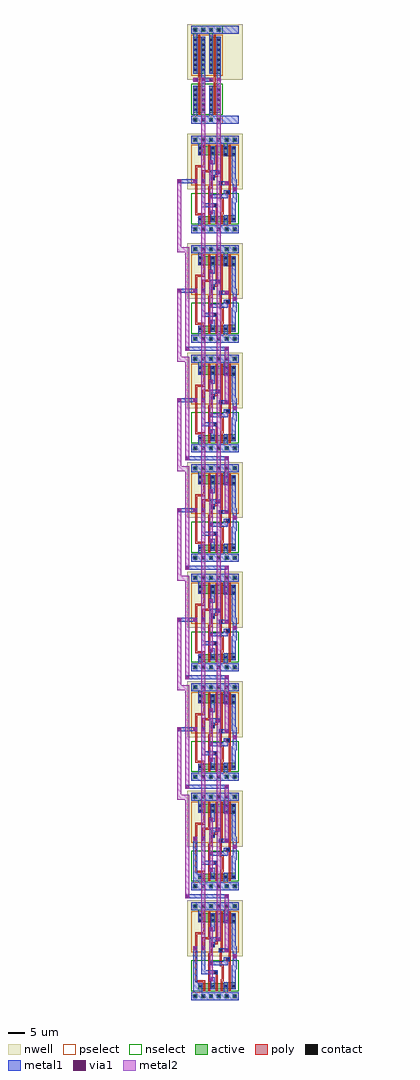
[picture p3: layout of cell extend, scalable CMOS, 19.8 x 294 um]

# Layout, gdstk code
import gdstk
lib = gdstk.Library(unit=1e-6, precision=1e-09)
def R(c, l, rs):  # rectangles x0, y0, x1, y1
    for r in rs: c.add(gdstk.rectangle(r[:2], r[2:], *l))
def A(c, l, x, y, w, h, nx, ny, dx, dy):  # array of equal rectangles
    R(c, l, [(x+i*dx, y+j*dy, x+i*dx+w, y+j*dy+h) for i in range(nx) for j in range(ny)])
def P(c, l, *ps):  # polygons
    for p in ps: c.add(gdstk.Polygon(p, *l))
contact = (25, 0)
nwell = (42, 0)
active = (43, 0)
pselect = (44, 0)
nselect = (45, 0)
poly = (46, 0)
metal1 = (49, 0)
via1 = (50, 0)
metal2 = (51, 0)

invbuf_4x = lib.new_cell('invbuf_4x')
A(invbuf_4x, contact, 0.9, -0.3, 0.6, 0.6, 4, 2, 2.4, 3)
A(invbuf_4x, contact, 0.9, 4.2, 0.6, 0.6, 4, 4, 2.4, 1.5)
A(invbuf_4x, contact, 0.9, 14.7, 0.6, 0.6, 4, 7, 2.4, 1.5)
A(invbuf_4x, contact, 0.9, 26.7, 0.6, 0.6, 4, 1, 2.4, 0)
R(invbuf_4x, contact, [(0.9,11.7,1.5,12.3), (5.7,11.7,6.3,12.3)])
R(invbuf_4x, nwell, [(-1.2,12,6,28.8), (3.6,12,10.8,28.8)])
A(invbuf_4x, active, 0.6, -0.6, 1.2, 1.2, 4, 2, 2.4, 27)
R(invbuf_4x, active, [(0.6,2.1,4.2,10.2), (5.4,2.1,9,10.2), (0.6,13.8,4.2,24.9), (5.4,13.8,9,24.9)])
R(invbuf_4x, pselect, [(0,-1.2,4.8,1.2), (4.8,-1.2,9.6,1.2), (0,13.2,4.8,25.5), (4.8,13.2,9.6,25.5)])
R(invbuf_4x, nselect, [(0,1.5,4.8,10.8), (4.8,1.5,9.6,10.8), (0,25.8,4.8,28.2), (4.8,25.8,9.6,28.2)])
P(invbuf_4x, poly, [(7.5,25.5),(6.9,25.5),(6.9,12.6),(5.4,12.6),(5.4,11.4),(6.9,11.4),(6.9,1.5),(7.5,1.5)],
  [(2.7,25.5),(2.1,25.5),(2.1,12.6),(0.6,12.6),(0.6,11.4),(2.1,11.4),(2.1,1.5),(2.7,1.5)])
R(invbuf_4x, metal1, [(0,-1.2,9.6,1.2), (0,-1.2,4.8,1.2), (4.8,-1.2,9.6,1.2), (3,2.1,4.2,24.9), (7.8,2.1,9,24.9), (0.6,11.4,1.8,12.6), (3,11.4,6.6,12.6), (0,25.8,9.6,28.2), (0,25.8,4.8,28.2), (4.8,25.8,9.6,28.2)])
P(invbuf_4x, metal1, [(9.6,1.2),(6.6,1.2),(6.6,10.2),(5.4,10.2),(5.4,1.2),(4.8,1.2),(4.8,-1.2),(9.6,-1.2)],
  [(9.6,28.2),(4.8,28.2),(4.8,25.8),(5.4,25.8),(5.4,13.8),(6.6,13.8),(6.6,25.8),(9.6,25.8)],
  [(4.8,1.2),(1.8,1.2),(1.8,10.2),(0.6,10.2),(0.6,1.2),(0,1.2),(0,-1.2),(4.8,-1.2)],
  [(4.8,28.2),(0,28.2),(0,25.8),(0.6,25.8),(0.6,13.8),(1.8,13.8),(1.8,25.8),(4.8,25.8)])
R(invbuf_4x, via1, [(0.9,11.7,1.5,12.3), (3.3,11.7,3.9,12.3), (8.1,11.7,8.7,12.3)])
R(invbuf_4x, metal2, [(0.6,11.4,1.8,12.6), (0.6,11.4,1.8,12.6), (0.6,11.4,1.8,12.6), (0.6,11.4,2.1,12.6), (3,11.4,4.2,12.6), (3,11.4,4.2,12.6), (3,11.4,4.2,12.6), (5.4,11.4,6.6,12.6), (5.4,11.4,6.6,12.6), (7.8,11.4,9,12.6), (7.8,11.4,9,12.6), (7.8,11.4,9,12.6)])

mux2_dp_1x = lib.new_cell('mux2_dp_1x')
A(mux2_dp_1x, contact, 0.9, -0.3, 0.6, 0.6, 6, 2, 2.4, 27)
A(mux2_dp_1x, contact, 2.4, 2.7, 0.6, 0.6, 3, 2, 3.9, 21.3)
R(mux2_dp_1x, contact, [(12.6,2.7,13.2,3.3), (7.2,6.9,7.8,7.5), (10.8,10.8,11.4,11.4), (8.7,13.5,9.3,14.1), (0.9,14.1,1.5,14.7), (3.3,14.1,3.9,14.7), (6.3,15,6.9,15.6), (10.2,22.2,10.8,22.8), (12.6,22.2,13.2,22.8), (2.4,22.5,3,23.1), (6.3,22.5,6.9,23.1), (12.6,24,13.2,24.6)])
R(mux2_dp_1x, nwell, [(-1.2,12,15.6,28.8)])
A(mux2_dp_1x, active, 0.6, -0.6, 1.2, 1.2, 6, 2, 2.4, 27)
P(mux2_dp_1x, active, [(13.5,4.2),(9.9,4.2),(9.9,3.9),(2.1,3.9),(2.1,2.1),(13.5,2.1)],
  [(13.5,24.9),(2.1,24.9),(2.1,22.2),(9.9,22.2),(9.9,21.9),(13.5,21.9)])
R(mux2_dp_1x, pselect, [(0,-1.2,14.4,1.2), (0,13.2,14.4,25.5)])
R(mux2_dp_1x, nselect, [(0,1.5,14.4,10.8), (0,25.8,14.4,28.2)])
P(mux2_dp_1x, poly, [(4.2,4.8),(1.8,4.8),(1.8,18.6),(4.2,18.6),(4.2,25.5),(3.6,25.5),(3.6,19.2),(1.2,19.2),(1.2,15),(0.6,15),(0.6,13.8),(1.2,13.8),(1.2,4.2),(3.6,4.2),(3.6,1.5),(4.2,1.5)],
  [(5.7,25.5),(5.1,25.5),(5.1,17.7),(3.3,17.7),(3.3,15),(3,15),(3,13.8),(4.2,13.8),(4.2,15),(3.9,15),(3.9,17.1),(5.7,17.1)],
  [(8.1,25.5),(7.5,25.5),(7.5,16.2),(6,16.2),(6,12.9),(5.1,12.9),(5.1,1.5),(5.7,1.5),(5.7,12.3),(6.6,12.3),(6.6,14.7),(7.2,14.7),(7.2,15.6),(8.1,15.6)],
  [(8.1,7.8),(6.9,7.8),(6.9,6.6),(7.5,6.6),(7.5,1.5),(8.1,1.5)],
  [(9.9,9.6),(9.3,9.6),(9.3,13.2),(9.6,13.2),(9.6,25.5),(9,25.5),(9,14.4),(8.4,14.4),(8.4,13.2),(8.7,13.2),(8.7,9),(9.3,9),(9.3,5.1),(9,5.1),(9,1.5),(9.6,1.5),(9.6,4.5),(9.9,4.5)],
  [(12,25.5),(11.4,25.5),(11.4,11.7),(10.5,11.7),(10.5,10.5),(11.4,10.5),(11.4,1.5),(12,1.5)])
R(mux2_dp_1x, metal1, [(0,-1.2,14.4,1.2), (8.4,13.2,11.4,14.4), (0.6,13.8,1.8,15), (0,25.8,14.4,28.2)])
P(mux2_dp_1x, metal1, [(7.2,24.9),(6,24.9),(6,20.7),(5.4,20.7),(5.4,19.5),(7.2,19.5)],
  [(7.2,5.7),(5.4,5.7),(5.4,4.5),(6,4.5),(6,2.1),(7.2,2.1)],
  [(8.1,7.8),(4.2,7.8),(4.2,15),(3,15),(3,6.6),(8.1,6.6)],
  [(9,17.7),(6,17.7),(6,14.7),(7.2,14.7),(7.2,16.5),(9,16.5)],
  [(13.8,15),(13.5,15),(13.5,24.9),(12.3,24.9),(12.3,13.8),(12.6,13.8),(12.6,9.3),(12.3,9.3),(12.3,2.1),(13.5,2.1),(13.5,8.1),(13.8,8.1)],
  [(14.4,1.2),(11.1,1.2),(11.1,4.2),(9.9,4.2),(9.9,1.2),(3.3,1.2),(3.3,3.9),(2.1,3.9),(2.1,1.2),(0,1.2),(0,-1.2),(14.4,-1.2)],
  [(11.7,11.7),(9.9,11.7),(9.9,10.5),(5.4,10.5),(5.4,9.3),(11.1,9.3),(11.1,10.5),(11.7,10.5)],
  [(14.4,28.2),(0,28.2),(0,25.8),(2.1,25.8),(2.1,22.2),(3.3,22.2),(3.3,25.8),(9.9,25.8),(9.9,21.9),(11.1,21.9),(11.1,25.8),(14.4,25.8)])
R(mux2_dp_1x, via1, [(5.7,4.8,6.3,5.4), (5.7,9.6,6.3,10.2), (12.9,11.7,13.5,12.3), (10.5,13.5,11.1,14.1), (0.9,14.1,1.5,14.7), (3.3,14.1,3.9,14.7), (8.1,16.8,8.7,17.4), (5.7,19.8,6.3,20.4)])
R(mux2_dp_1x, metal2, [(5.4,4.5,6.6,20.7), (12.6,11.4,13.8,12.6), (10.2,13.2,11.4,14.4), (0.6,13.8,1.8,15), (3,13.8,4.2,15), (7.8,16.5,9,17.7)])

mux2_1x_8 = lib.new_cell('mux2_1x_8')
R(mux2_1x_8, nwell, [(-1.2,276,15.6,292.8)])
R(mux2_1x_8, metal1, [(0,-1.2,14.4,1.2), (0,25.8,14.4,28.2), (0,31.8,14.4,34.2), (0,58.8,14.4,61.2), (0,64.8,14.4,67.2), (0,91.8,14.4,94.2), (0,97.8,14.4,100.2), (0,124.8,14.4,127.2), (0,130.8,14.4,133.2), (0,157.8,14.4,160.2), (0,163.8,14.4,166.2), (0,190.8,14.4,193.2), (0,196.8,14.4,199.2), (0,223.8,14.4,226.2), (0,229.8,14.4,232.2), (0,256.8,14.4,259.2), (0,262.8,14.4,265.2), (0,289.8,14.4,292.2)])
A(mux2_1x_8, metal2, 12.6, 11.4, 1.2, 1.2, 1, 8, 0, 33)
A(mux2_1x_8, metal2, 10.2, 13.2, 1.2, 1.2, 1, 8, 0, 33)
A(mux2_1x_8, metal2, 0.6, 13.8, 1.2, 1.2, 1, 8, 0, 33)
R(mux2_1x_8, metal2, [(3,13.8,4.2,276.6), (7.8,16.5,9,276.6), (0.6,275.4,1.8,276.6)])
mux2_1x_8.add(gdstk.Reference(invbuf_4x, (0,264)))
r = gdstk.Reference(mux2_dp_1x, (0,0)); r.repetition = gdstk.Repetition(1, 8, v1=(16.8,0), v2=(0,33)); mux2_1x_8.add(r)

extend = lib.new_cell('extend')
A(extend, metal1, -1.8, 30.6, 13.2, 1.2, 1, 6, 0, 33)
A(extend, metal1, -4.2, 81, 6, 1.2, 1, 6, 0, 33)
R(extend, metal1, [(0,0,14.4,2.4), (0.6,0.6,1.8,16.2), (1.8,2.4,2.1,5.1), (0,27,14.4,29.4), (0,33,14.4,35.4), (0.6,33.6,1.8,49.2), (1.8,35.4,2.1,38.1), (0,60,14.4,62.4), (0,66,14.4,68.4), (0,93,14.4,95.4), (0,99,14.4,101.4), (0,126,14.4,128.4), (0,132,14.4,134.4), (0,159,14.4,161.4), (0,165,14.4,167.4), (0,192,14.4,194.4), (0,198,14.4,200.4), (0,225,14.4,227.4), (0,231,14.4,233.4), (0,258,14.4,260.4), (0,264,14.4,266.4), (0,291,14.4,293.4)])
A(extend, via1, -1.5, 30.9, 0.6, 0.6, 1, 6, 0, 33)
A(extend, via1, 10.5, 30.9, 0.6, 0.6, 1, 6, 0, 33)
A(extend, via1, -3.9, 81.3, 0.6, 0.6, 1, 6, 0, 33)
A(extend, metal2, 12.6, 12.6, 1.2, 1.2, 1, 8, 0, 33)
A(extend, metal2, 10.2, 14.4, 1.2, 17.4, 1, 6, 0, 33)
A(extend, metal2, 10.2, 14.4, 1.2, 1.2, 1, 8, 0, 33)
A(extend, metal2, -1.8, 30.6, 1.2, 31.2, 1, 6, 0, 33)
A(extend, metal2, -4.2, 60.3, 3.6, 1.5, 1, 6, 0, 33)
A(extend, metal2, -4.2, 60.3, 1.2, 21.9, 1, 6, 0, 33)
R(extend, metal2, [(0.6,276.6,1.8,277.8)])
extend.add(gdstk.Reference(mux2_1x_8, (0,1.2)))

lib.write_gds('extend.gds')
